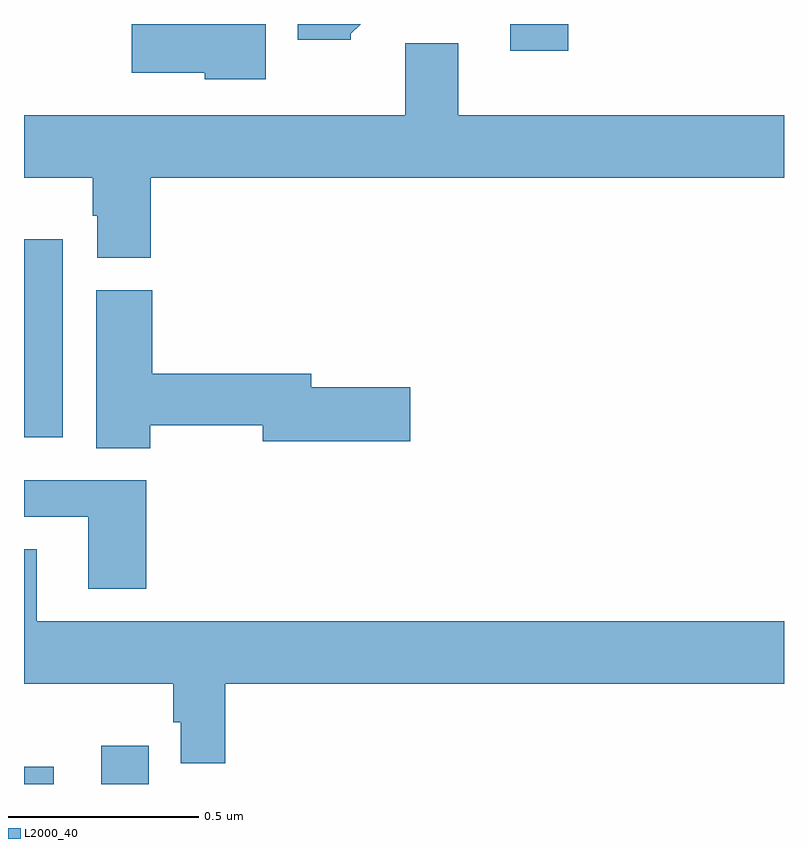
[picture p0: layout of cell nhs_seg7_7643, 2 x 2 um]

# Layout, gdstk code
import gdstk
lib = gdstk.Library(unit=1e-6, precision=1e-09)
def R(c, l, rs):  # rectangles x0, y0, x1, y1
    for r in rs: c.add(gdstk.rectangle(r[:2], r[2:], *l))
def P(c, l, *ps):  # polygons
    for p in ps: c.add(gdstk.Polygon(p, *l))
L2000_40 = (2000, 40)

nhs_seg7_7643 = lib.new_cell('nhs_seg7_7643')
R(nhs_seg7_7643, L2000_40, [(214,1019,214.078,1019.046), (214.203,1019,214.328,1019.101), (214,1019.912,214.102,1020.433), (215.279,1020.93,215.432,1021), (214,1020.999,214.102,1021)])
P(nhs_seg7_7643, L2000_40, [(214.86,1020.974),(214.886,1021),(214.721,1021),(214.721,1020.959),(214.86,1020.959)],
  [(214.636,1021),(214.284,1021),(214.284,1020.872),(214.476,1020.872),(214.476,1020.854),(214.636,1020.854)],
  [(214.334,1020.596),(216,1020.596),(216,1020.76),(215.143,1020.76),(215.143,1020.95),(215.003,1020.95),(215.003,1020.76),(214,1020.76),(214,1020.596),(214.181,1020.596),(214.181,1020.495),(214.193,1020.495),(214.193,1020.385),(214.334,1020.385)],
  [(214.332,1019.944),(214.628,1019.944),(214.628,1019.902),(215.017,1019.902),(215.017,1020.044),(214.756,1020.044),(214.756,1020.08),(214.337,1020.08),(214.337,1020.3),(214.19,1020.3),(214.19,1019.884),(214.332,1019.884)],
  [(214.322,1019.799),(214,1019.799),(214,1019.703),(214.169,1019.703),(214.169,1019.514),(214.322,1019.514)],
  [(214.529,1019.264),(216,1019.264),(216,1019.428),(214.033,1019.428),(214.033,1019.618),(214,1019.618),(214,1019.264),(214.393,1019.264),(214.393,1019.163),(214.413,1019.163),(214.413,1019.054),(214.529,1019.054)])

lib.write_gds('nhs_seg7_7643.gds')
